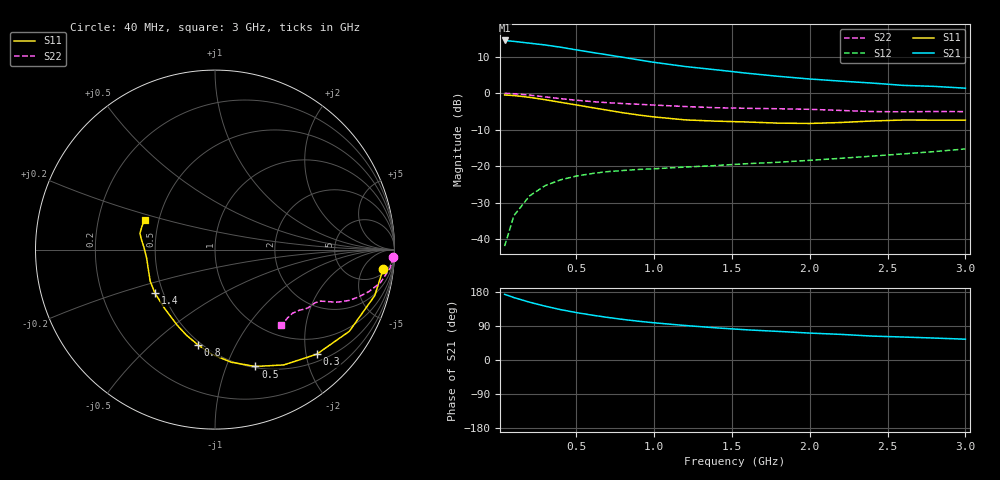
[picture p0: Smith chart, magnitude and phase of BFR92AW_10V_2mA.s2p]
! Filename:  BFR92AWF.S2P  Version:  4.0
! Philips part #: BFR92AW  Date: Jun 1994
! Bias condition: Vce=10V, Ic=2mA
#  MHz  S  MA  R  50
! Freq  S11  S21  S12  S22  !GUM [dB]
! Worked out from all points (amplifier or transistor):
!   21 points, 40 MHz to 3 GHz, reference 50 ohm
!   highest |S21| = 14.4 dB at 40 MHz (marker M1)
!   |S21| within 3 dB of that: start of sweep to 561.5 MHz
!   unconditionally stable (mu >= 1): 1.186 GHz to end of sweep
!   at 300 MHz: K = 0.32, MSG = 19.3 dB, |S12| = -25.4 dB
!   at 1 GHz: K = 0.86, MSG = 14.6 dB, |S12| = -20.7 dB
!   at 3 GHz: K = 1.28, MAG = 5.1 dB, |S12| = -15.3 dB
!   S11 on the Smith chart (normalised r, x): 40 MHz: 7, -14; 300 MHz: 0.64, -2.21; 500 MHz: 0.51, -1.27; 800 MHz: 0.48, -0.71; 1.4 GHz: 0.45, -0.26; 3 GHz: 0.42, +0.17
40  0.944 -6.5  5.268 173.4  0.008 86.2  0.995 -2.4
100  0.926 -16.1  5.117 164.7  0.021 79.9  0.981 -6.1
200  0.876 -31.3  4.836 152.6  0.039 70.2  0.94 -11.3
300  0.813 -45.8  4.571 142.1  0.054 62.8  0.888 -15.3
400  0.748 -59.2  4.255 132.9  0.065 57.6  0.841 -18.3
500  0.689 -70.9  3.915 125.2  0.073 53.8  0.8 -20.7
600  0.634 -81.8  3.618 118.5  0.079 51.7  0.766 -22.2
700  0.584 -91.6  3.35 112.5  0.084 50.3  0.74 -23.3
800  0.538 -100.4  3.097 107.1  0.087 49.7  0.72 -23.9
900  0.502 -108.6  2.855 102.3  0.09 49.3  0.703 -24.4
1000  0.472 -116.3  2.642 98.2  0.092 49.5  0.687 -24.9
1200  0.43 -131.4  2.315 91.0  0.097 50.7  0.655 -26.0
1400  0.413 -144.2  2.086 84.8  0.102 52.7  0.631 -28.0
1600  0.402 -153.9  1.871 79.5  0.108 55.5  0.619 -30.5
1800  0.388 -162.9  1.698 75.4  0.113 59.1  0.611 -32.1
2000  0.384 -173.1  1.562 71.0  0.12 62.3  0.6 -33.5
2200  0.396 178.2  1.46 67.6  0.128 65.3  0.579 -35.7
2400  0.415 171.8  1.374 63.1  0.137 67.9  0.559 -39.3
2600  0.428 167.7  1.277 60.6  0.147 70.5  0.555 -43.5
2800  0.427 163.1  1.237 57.9  0.158 73.3  0.56 -46.6
3000  0.426 157.2  1.169 54.9  0.172 75.4  0.558 -48.6
